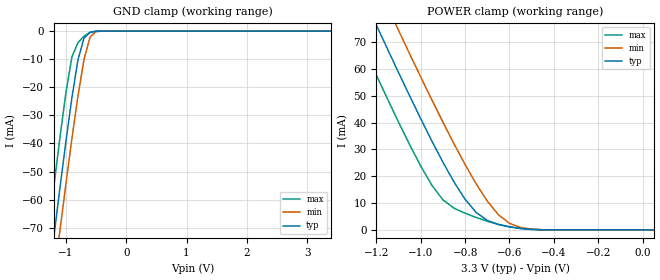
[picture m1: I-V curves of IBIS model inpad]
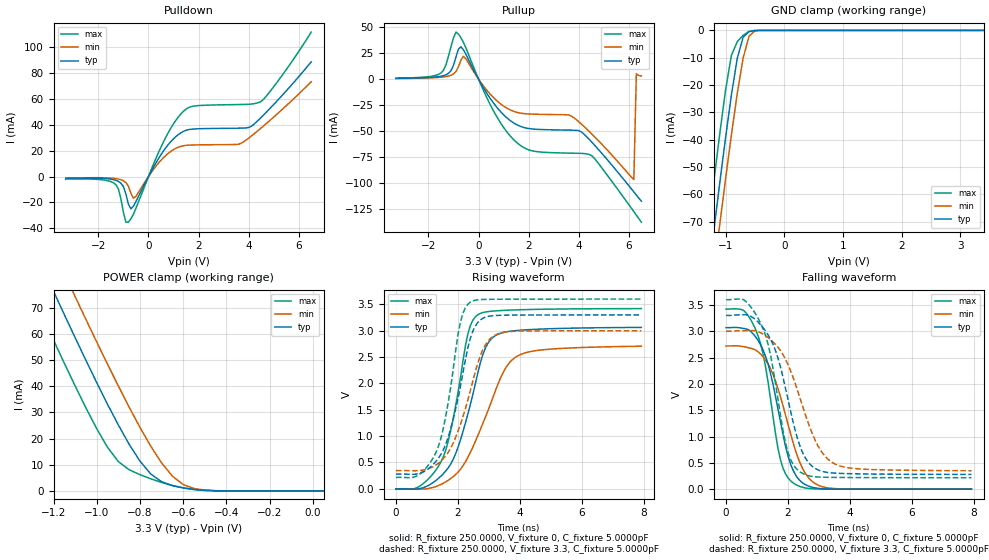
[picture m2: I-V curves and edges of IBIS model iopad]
| IBIS File MR5A16BCMA35 for Everspin 2Mb x 16 Industrial Temperature MRAM
[IBIS ver]   2.1
[File name]   m516bgai.ibs
[File Rev]   0.9
|   Developmental
[Date]   Wednesday, March 30, 2010
[Copyright]   Copyright Everspin Technologies, Inc.
[Notes]   This is an IBIS model under development for the MR5A16BCMA35
|   Industrial Temperature range 2Mb x 16 MRAM.
|   Transistor characteristics are simulated.
|   Power bus series resistance, R_pkg, C_pkg, and L_pkg are
|   estimated.
|   Die temperatures for model generation:
|   typ=35C, max=95C, min=-40C
|   Voltages for model generation:
|   typ=3.3V, max=3.6V, min=3.0V
|   Component MR5A16BCMA35
[Component]   MR5A16BCMA35
[Manufacturer]   Everspin Technologies, Inc.
[Package]
| variable   typ   min   max
R_pkg   0.3500   0.2000   0.5000
L_pkg   6.0000nH   3.0000nH   9.0000nH
C_pkg   2.6000pF   1.6000pF   3.6000pF
[Pin]  signal_name   model_name   R_pin   L_pin   C_pin
A1   LB_B   inpad
A2   G_B   inpad
A3   A0   inpad
A4   A1   inpad
A5   A2   inpad
A6   NC   NC
B1   DQU8   iopad
B2   UB_B   inpad
B3   A3   inpad
B4   A4   inpad
B5   E_B   inpad
B6   DQL0   iopad
C1   DQU9   iopad
C2   DQU10   iopad
C3   A5   inpad
C4   A6   inpad
C5   DQL1   iopad
C6   DQL2   iopad
D1   VSS   GND
D2   DQU11   iopad
D3   A17   inpad
D4   A7   inpad
D5   DQL3   iopad
D6   VDD   POWER
E1   VDD   POWER
E2   DQU12   iopad
E3   DC   inpad
E4   A16   inpad
E5   DQL4   iopad
E6   VSS   GND
F1   DQU14   iopad
F2   DQU13   iopad
F3   A14   inpad
F4   A15   inpad
F5   DQL5   iopad
F6   DQL6   iopad
G1   DQU15   iopad
G2   NC   NC
G3   A12   inpad
G4   A13   inpad
G5   W_B   inpad
G6   DQL7   iopad
H1   A18   inpad
H2   A8   inpad
H3   A9   inpad
H4   A10   inpad
H5   A11   inpad
H6   A19   inpad
| Models and submodels in the file (2): inpad (Input), iopad (I/O)
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|   Model inpad
[Model]   inpad
Model_type   Input
Vinl =   0.8000V
Vinh =   2.2000V
C_comp   8.0000pF   7.0000pF   9.000pF
[Temperature Range]   35.0000   95.0000   -40.0000
[Voltage Range]   3.3000V   3.0000V   3.6000V
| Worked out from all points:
|   GND clamp passes 1 mA (typ) near -0.63 V on its own axis
|   POWER clamp passes 1 mA (typ) near -0.59 V on its own axis
[GND_clamp]
| voltage   I(typ)   I(min)   I(max)
-3.3V     -469.5mA   -481.6mA   -457.6mA
-1.3V     -91.06mA   -106mA     -73.25mA
-1.2V     -73.4mA    -88.5mA    -55.43mA
-1.1V     -56.11mA   -71.29mA   -38.15mA
-1V       -39.38mA   -54.47mA   -21.99mA
-900mV    -23.67mA   -38.25mA   -9.176mA
-800mV    -10.25mA   -23.08mA   -4.105mA
-700mV    -2.509mA   -10.13mA   -1.797mA
-600mV    -471.6uA   -2.166mA   -386uA
-500mV    -39.23uA   -170.9uA   -19.75uA
-400mV    -1.342uA   -8.431uA   -126.7nA
3.4V      75.49nA    25.08uA    65.91nA
[POWER_clamp]
| voltage   I(typ)   I(min)   I(max)
-3.3V     471.8mA    485.3mA    455.7mA
-1.3V     94.39mA    110mA      75.77mA
-1.2V     76.36mA    92.08mA    57.71mA
-1.1V     58.64mA    74.35mA    40.17mA
-1V       41.44mA    56.97mA    23.81mA
-900mV    25.24mA    40.15mA    11.22mA
-800mV    11.41mA    24.34mA    6.233mA
-750mV    6.493mA    17.14mA    4.647mA
-650mV    2.04mA     5.693mA    2.078mA
-600mV    1.156mA    2.464mA    1.161mA
-450mV    68.22uA    94.91uA    41.34uA
50mV      -71.52nA   -76.83nA   -65.78nA
|   Model iopad
[Model]   iopad
Model_type   I/O
Enable   Active-High
Vinl =   0.8000V
Vinh =   2.2000V
Rref =   0.2500k
Vref =   1.4000V
Vmeas =  1.5V
C_comp   8.0000pF   7.0000pF   9.0000pF
[Temperature Range]   35.0000   95.0000   -40.0000
[Voltage Range]   3.3000V   3.0000V   3.6000V
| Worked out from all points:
|   slope of the pulldown table from 0 to 0.495 V, typ, clamps not added: 29.4 ohm
|   slope of the pullup table from 0 to 0.495 V, typ, clamps not added: 25.4 ohm
|   GND clamp passes 1 mA (typ) near -0.63 V on its own axis
|   POWER clamp passes 1 mA (typ) near -0.59 V on its own axis
|   rising waveform, R_fixture 250.0000, V_fixture 0, C_fixture 5.0000pF: 20-80 % time 868ps typ, 1.16ns min, 673ps max; typ from 0 V to 3.06 V
|   rising waveform, R_fixture 250.0000, V_fixture 3.3, C_fixture 5.0000pF: 20-80 % time 701ps typ, 837ps min, 583ps max; typ from 0.279 V to 3.3 V
|   falling waveform, R_fixture 250.0000, V_fixture 0, C_fixture 5.0000pF: 20-80 % time 696ps typ, 840ps min, 582ps max; typ from 3.07 V to 0 V
|   falling waveform, R_fixture 250.0000, V_fixture 3.3, C_fixture 5.0000pF: 20-80 % time 795ps typ, 1ns min, 641ps max; typ from 3.3 V to 0.28 V
[Pulldown]
| voltage   I(typ)   I(min)   I(max)
-3.3V     -1.098mA   -2.119mA   -1.654mA
-1.4V     -2.317mA   -1.316mA   -4.745mA
-1.2V     -3.68mA    -1.884mA   -9.448mA
-1V       -7.672mA   -3.174mA   -27.6mA
-800mV    -21.4mA    -7.453mA   -35.25mA
-500mV    -19.31mA   -15.32mA   -24.51mA
500mV     16.99mA    12.7mA     22.81mA
1.3V      33.93mA    23.46mA    48.61mA
1.8V      36.79mA    24.48mA    54.53mA
3.6V      37.48mA    25.06mA    55.76mA
4.5V      45.8mA     37.64mA    58.16mA
6.5V      88.79mA    73.41mA    111.8mA
[Pullup]
| voltage   I(typ)   I(min)   I(max)
-3.3V     817uA      705uA      964uA
-1.5V     2.873mA    1.909mA    5.995mA
-1.1V     8.221mA    3.825mA    31.37mA
-900mV    21.52mA    7.457mA    45.25mA
-600mV    28.04mA    21.88mA    35.13mA
500mV     -19.69mA   -15.31mA   -26.07mA
1.4V      -41.99mA   -30.87mA   -58.05mA
3.6V      -48.94mA   -34.41mA   -71.03mA
4.5V      -59.89mA   -52.15mA   -73.16mA
6.2V      -108.3mA   -96.36mA   -127.2mA
6.3V      -111.3mA   5.17mA     -130.6mA
6.5V      -117.2mA   3.086mA    -137.4mA
[GND_clamp]
| voltage   I(typ)   I(min)   I(max)
-3.3V     -469.5mA   -481.6mA   -457.6mA
-1.3V     -91.06mA   -106mA     -73.25mA
-1.2V     -73.4mA    -88.5mA    -55.43mA
-1.1V     -56.11mA   -71.29mA   -38.15mA
-1V       -39.38mA   -54.47mA   -21.99mA
-900mV    -23.67mA   -38.25mA   -9.176mA
-800mV    -10.25mA   -23.08mA   -4.105mA
-700mV    -2.509mA   -10.13mA   -1.797mA
-600mV    -471.6uA   -2.166mA   -386uA
-500mV    -39.23uA   -170.9uA   -19.75uA
-400mV    -1.342uA   -8.431uA   -126.7nA
3.4V      75.49nA    25.08uA    65.91nA
[POWER_clamp]
| voltage   I(typ)   I(min)   I(max)
-3.3V     471.8mA    485.3mA    455.7mA
-1.3V     94.39mA    110mA      75.77mA
-1.2V     76.36mA    92.08mA    57.71mA
-1.1V     58.64mA    74.35mA    40.17mA
-1V       41.44mA    56.97mA    23.81mA
-900mV    25.24mA    40.15mA    11.22mA
-800mV    11.41mA    24.34mA    6.233mA
-750mV    6.493mA    17.14mA    4.647mA
-650mV    2.04mA     5.693mA    2.078mA
-600mV    1.156mA    2.464mA    1.161mA
-450mV    68.22uA    94.91uA    41.34uA
50mV      -71.52nA   -76.83nA   -65.78nA
[Ramp]
| variable  typ   min   max
dV/dt_r   1.8376e+00/8.5901e-10  1.6235e+00/1.2339e-09  2.0515e+00/6.1724e-10
dV/dt_f   1.8119e+00/7.3080e-10  1.5897e+00/9.3367e-10  2.0295e+00/5.3609e-10
R_load = 250.0000
[Rising Waveform]
R_fixture = 250.0000
V_fixture = 0
C_fixture = 5.0000pF
| time   V(typ)   V(min)   V(max)
0s        16.97nV    19.3nV     19.99nV
800ps     7.906mV    -6.119mV   62.85mV
1.52ns    280.4mV    103.4mV    592.9mV
1.84ns    549.7mV    227mV      1.308V
2.32ns    1.418V     594.9mV    2.936V
2.64ns    2.192V     1.005V     3.301V
3.04ns    2.82V      1.59V      3.367V
3.52ns    2.973V     2.27V      3.386V
3.92ns    3.004V     2.519V     3.396V
7.92ns    3.062V     2.705V     3.419V
[Rising Waveform]
R_fixture = 250.0000
V_fixture = 3.3
V_fixture_min = 3.0
V_fixture_max = 3.6
C_fixture = 5.0000pF
| time   V(typ)   V(min)   V(max)
0s        279mV      346.4mV    217.3mV
720ps     286.1mV    345.6mV    259.9mV
1.28ns    512.5mV    448.8mV    674.5mV
1.6ns     836.2mV    621.8mV    1.354V
1.84ns    1.3V       857.9mV    2.227V
2.08ns    1.938V     1.221V     3.161V
2.4ns     2.854V     1.861V     3.541V
2.8ns     3.234V     2.634V     3.592V
3.28ns    3.29V      2.936V     3.596V
7.92ns    3.3V       2.999V     3.6V
[Falling Waveform]
R_fixture = 250.0000
V_fixture = 0
C_fixture = 5.0000pF
| time   V(typ)   V(min)   V(max)
0s        3.069V     2.721V     3.421V
560ps     3.055V     2.708V     3.399V
960ps     2.89V      2.642V     3.026V
1.2ns     2.636V     2.512V     2.557V
1.36ns    2.37V      2.375V     2.015V
1.76ns    1.269V     1.748V     549.5mV
2.16ns    362.8mV    891.3mV    121.1mV
2.56ns    85.46mV    298.5mV    22.9mV
3.12ns    8.385mV    44.83mV    1.901mV
7.92ns    80.44uV    154.3uV    35.15uV
[Falling Waveform]
R_fixture = 250.0000
V_fixture = 3.3
V_fixture_min = 3.0
V_fixture_max = 3.6
C_fixture = 5.0000pF
| time   V(typ)   V(min)   V(max)
0s        3.3V       3V         3.6V
640ps     3.313V     3.013V     3.566V
1.2ns     3.063V     2.943V     3.042V
1.44ns    2.844V     2.839V     2.534V
1.92ns    1.914V     2.466V     875.3mV
2.16ns    1.284V     2.128V     475.4mV
2.4ns     794.8mV    1.705V     323.6mV
2.96ns    367.9mV    830.5mV    231.5mV
3.6ns     301.9mV    456.5mV    222.9mV
7.92ns    280.2mV    350.6mV    217.5mV
